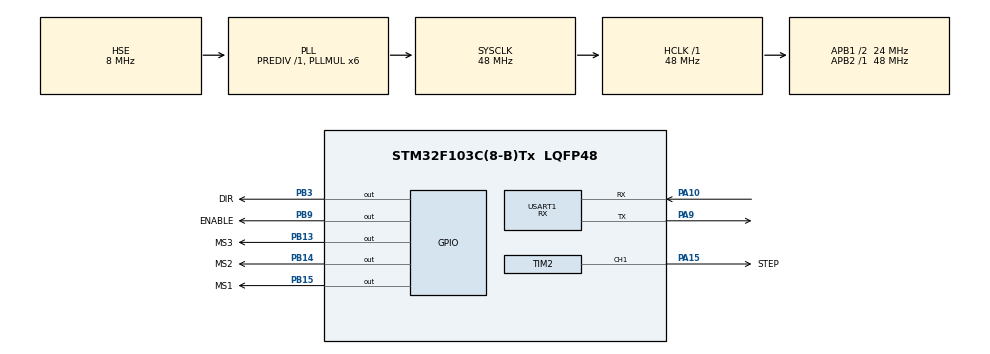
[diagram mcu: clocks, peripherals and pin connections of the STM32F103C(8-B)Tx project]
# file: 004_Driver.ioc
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Mcu.Family=STM32F1
RCC.PLLSourceVirtual=RCC_PLLSOURCE_HSE
PD1-OSC_OUT.Mode=HSE-External-Oscillator
PB9.GPIO_Label=ENABLE
PA10.Mode=Asynchronous
PB14.GPIO_Label=MS2
PD0-OSC_IN.Signal=RCC_OSC_IN
RCC.APB1CLKDivider=RCC_HCLK_DIV2
TIM2.OCPolarity_1=TIM_OCPOLARITY_LOW
PB13.GPIO_Label=MS3
PB13.Signal=GPIO_Output
PB15.Signal=GPIO_Output
RCC.SYSCLKSource=RCC_SYSCLKSOURCE_PLLCLK
ProjectManager.StackSize=0x400
TIM2.Pulse-PWM\ Generation1\ CH1=100
PD1-OSC_OUT.Signal=RCC_OSC_OUT
PA13.Signal=SYS_JTMS-SWDIO
PA15.GPIO_Label=STEP
PA9.Mode=Asynchronous
ProjectManager.TargetToolchain=STM32CubeIDE
RCC.HCLKFreq_Value=48000000
RCC.APB2TimFreq_Value=48000000
PA9.Signal=USART1_TX
RCC.USBFreq_Value=48000000
RCC.AHBFreq_Value=48000000
PD0-OSC_IN.Mode=HSE-External-Oscillator
PB14.Signal=GPIO_Output
board=custom
RCC.PLLMUL=RCC_PLL_MUL6
RCC.APB2Freq_Value=48000000
USART1.Mode=MODE_RX
PB15.GPIO_Label=MS1
VP_TIM2_VS_ClockSourceINT.Mode=Internal
PA14.Mode=Serial_Wire
NVIC.TIM2_IRQn=true\:0\:0\:false\:false\:true\:true\:true
TIM2.Channel-PWM\ Generation1\ CH1=TIM_CHANNEL_1
TIM2.Period=200
PA13.Mode=Serial_Wire
Mcu.Name=STM32F103C(8-B)Tx
PB3.Signal=GPIO_Output
RCC.SYSCLKFreq_VALUE=48000000
Mcu.Package=LQFP48
PB9.Signal=GPIO_Output
TIM2.Prescaler=360
USART1.VirtualMode=VM_ASYNC
SH.S_TIM2_CH1_ETR.0=TIM2_CH1,PWM Generation1 CH1
PA10.Signal=USART1_RX
PA14.Signal=SYS_JTCK-SWCLK
PA15.Signal=S_TIM2_CH1_ETR
ProjectManager.HeapSize=0x200
NVIC.PriorityGroup=NVIC_PRIORITYGROUP_4
RCC.APB1TimFreq_Value=48000000
NVIC.USART1_IRQn=true\:0\:0\:false\:false\:true\:true\:true
RCC.APB1Freq_Value=24000000
PB3.GPIO_Label=DIR

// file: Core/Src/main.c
/* USER CODE BEGIN Header */
/**
  ******************************************************************************
  * @file           : main.c
  * @brief          : Main program body
  ******************************************************************************
  * @attention
  *
  * <h2><center>&copy; Copyright (c) 2021 STMicroelectronics.
  * All rights reserved.</center></h2>
  *
  * This software component is licensed by ST under BSD 3-Clause license,
  * the "License"; You may not use this file except in compliance with the
  * License. You may obtain a copy of the License at:
  *                        opensource.org/licenses/BSD-3-Clause
  *
  ******************************************************************************
  */
/* USER CODE END Header */
#include "main.h"

/* USER CODE BEGIN Includes */
#include <stdio.h>
#include "Driver.h"

/* USER CODE END Includes */

TIM_HandleTypeDef htim2;

UART_HandleTypeDef huart1;

void SystemClock_Config(void);
static void MX_GPIO_Init(void);
static void MX_TIM2_Init(void);
static void MX_USART1_UART_Init(void);
/* USER CODE BEGIN PFP */
int Convert_ascii_int(uint8_t *Rx_data);
void HAL_UART_RxCpltCallback(UART_HandleTypeDef *huart);

/* USER CODE END PFP */

/* USER CODE BEGIN 0 */
short step_resolution = 5;
_Bool flag = 0;
uint8_t Rx_data[2];

/* USER CODE END 0 */

int main(void)
{

  /* MCU Configuration--------------------------------------------------------*/

  /* Reset of all peripherals, Initializes the Flash interface and the Systick. */
  HAL_Init();

  /* Configure the system clock */
  SystemClock_Config();

  /* Initialize all configured peripherals */
  MX_GPIO_Init();
  MX_TIM2_Init();
  MX_USART1_UART_Init();
  /* USER CODE BEGIN 2 */

  Init_Driver(step_resolution);
  HAL_UART_Receive_IT(&huart1, Rx_data, 2);
//  Change_position(next_position);

  /* USER CODE END 2 */

  /* Infinite loop */
  /* USER CODE BEGIN WHILE */
  while (1)
  {
	  if (flag == 1)
	  {
		Change_position(Convert_ascii_int(Rx_data));
		HAL_UART_Receive_IT(&huart1, Rx_data, 2);
		flag = 0;
	  }
    /* USER CODE END WHILE */

  }
}

void SystemClock_Config(void)
{
  RCC_OscInitTypeDef RCC_OscInitStruct = {0};
  RCC_ClkInitTypeDef RCC_ClkInitStruct = {0};

  /** Initializes the RCC Oscillators according to the specified parameters
  * in the RCC_OscInitTypeDef structure.
  */
  RCC_OscInitStruct.OscillatorType = RCC_OSCILLATORTYPE_HSE;
  RCC_OscInitStruct.HSEState = RCC_HSE_ON;
  RCC_OscInitStruct.HSEPredivValue = RCC_HSE_PREDIV_DIV1;
  RCC_OscInitStruct.HSIState = RCC_HSI_ON;
  RCC_OscInitStruct.PLL.PLLState = RCC_PLL_ON;
  RCC_OscInitStruct.PLL.PLLSource = RCC_PLLSOURCE_HSE;
  RCC_OscInitStruct.PLL.PLLMUL = RCC_PLL_MUL6;
  if (HAL_RCC_OscConfig(&RCC_OscInitStruct) != HAL_OK)
  {
    Error_Handler();
  }
  /** Initializes the CPU, AHB and APB buses clocks
  */
  RCC_ClkInitStruct.ClockType = RCC_CLOCKTYPE_HCLK|RCC_CLOCKTYPE_SYSCLK
                              |RCC_CLOCKTYPE_PCLK1|RCC_CLOCKTYPE_PCLK2;
  RCC_ClkInitStruct.SYSCLKSource = RCC_SYSCLKSOURCE_PLLCLK;
  RCC_ClkInitStruct.AHBCLKDivider = RCC_SYSCLK_DIV1;
  RCC_ClkInitStruct.APB1CLKDivider = RCC_HCLK_DIV2;
  RCC_ClkInitStruct.APB2CLKDivider = RCC_HCLK_DIV1;

  if (HAL_RCC_ClockConfig(&RCC_ClkInitStruct, FLASH_LATENCY_1) != HAL_OK)
  {
    Error_Handler();
  }
}

static void MX_TIM2_Init(void)
{

  TIM_ClockConfigTypeDef sClockSourceConfig = {0};
  TIM_MasterConfigTypeDef sMasterConfig = {0};
  TIM_OC_InitTypeDef sConfigOC = {0};

  htim2.Instance = TIM2;
  htim2.Init.Prescaler = 360;
  htim2.Init.CounterMode = TIM_COUNTERMODE_UP;
  htim2.Init.Period = 200;
  htim2.Init.ClockDivision = TIM_CLOCKDIVISION_DIV1;
  htim2.Init.AutoReloadPreload = TIM_AUTORELOAD_PRELOAD_DISABLE;
  if (HAL_TIM_Base_Init(&htim2) != HAL_OK)
  {
    Error_Handler();
  }
  sClockSourceConfig.ClockSource = TIM_CLOCKSOURCE_INTERNAL;
  if (HAL_TIM_ConfigClockSource(&htim2, &sClockSourceConfig) != HAL_OK)
  {
    Error_Handler();
  }
  if (HAL_TIM_PWM_Init(&htim2) != HAL_OK)
  {
    Error_Handler();
  }
  sMasterConfig.MasterOutputTrigger = TIM_TRGO_RESET;
  sMasterConfig.MasterSlaveMode = TIM_MASTERSLAVEMODE_DISABLE;
  if (HAL_TIMEx_MasterConfigSynchronization(&htim2, &sMasterConfig) != HAL_OK)
  {
    Error_Handler();
  }
  sConfigOC.OCMode = TIM_OCMODE_PWM1;
  sConfigOC.Pulse = 100;
  sConfigOC.OCPolarity = TIM_OCPOLARITY_LOW;
  sConfigOC.OCFastMode = TIM_OCFAST_DISABLE;
  if (HAL_TIM_PWM_ConfigChannel(&htim2, &sConfigOC, TIM_CHANNEL_1) != HAL_OK)
  {
    Error_Handler();
  }
  HAL_TIM_MspPostInit(&htim2);

}

static void MX_USART1_UART_Init(void)
{

  huart1.Instance = USART1;
  huart1.Init.BaudRate = 115200;
  huart1.Init.WordLength = UART_WORDLENGTH_8B;
  huart1.Init.StopBits = UART_STOPBITS_1;
  huart1.Init.Parity = UART_PARITY_NONE;
  huart1.Init.Mode = UART_MODE_RX;
  huart1.Init.HwFlowCtl = UART_HWCONTROL_NONE;
  huart1.Init.OverSampling = UART_OVERSAMPLING_16;
  if (HAL_UART_Init(&huart1) != HAL_OK)
  {
    Error_Handler();
  }

}

static void MX_GPIO_Init(void)
{
  GPIO_InitTypeDef GPIO_InitStruct = {0};

  /* GPIO Ports Clock Enable */
  __HAL_RCC_GPIOD_CLK_ENABLE();
  __HAL_RCC_GPIOB_CLK_ENABLE();
  __HAL_RCC_GPIOA_CLK_ENABLE();

  /*Configure GPIO pin Output Level */
  HAL_GPIO_WritePin(GPIOB, MS3_Pin|MS2_Pin|MS1_Pin|DIR_Pin
                          |ENABLE_Pin, GPIO_PIN_RESET);

  /*Configure GPIO pins : MS3_Pin MS2_Pin MS1_Pin DIR_Pin
                           ENABLE_Pin */
  GPIO_InitStruct.Pin = MS3_Pin|MS2_Pin|MS1_Pin|DIR_Pin
                          |ENABLE_Pin;
  GPIO_InitStruct.Mode = GPIO_MODE_OUTPUT_PP;
  GPIO_InitStruct.Pull = GPIO_NOPULL;
  GPIO_InitStruct.Speed = GPIO_SPEED_FREQ_LOW;
  HAL_GPIO_Init(GPIOB, &GPIO_InitStruct);

}

/* USER CODE BEGIN 4 */
int Convert_ascii_int(uint8_t *Rx_data) {
	if (Rx_data[0] == 0x20) {
		if (Rx_data[1] == 0x31) {
			return 1;
		}
		if (Rx_data[1] == 0x32){
			return 2;
		}
		if (Rx_data[1] == 0x33){
			return 3;
		}
		if (Rx_data[1] == 0x34){
			return 4;
		}
		if (Rx_data[1] == 0x35){
			return 5;
		}
		if (Rx_data[1] == 0x36){
			return 6;
		}
		if (Rx_data[1] == 0x37){
			return 7;
		}
		if (Rx_data[1] == 0x38){
			return 8;
		}
		if (Rx_data[1] == 0x39){
			return 9;
		}
	}
	if (Rx_data[0] == 0x31) {
		if (Rx_data[1] == 0x30) {
			return 10;
		}
		if (Rx_data[1] == 0x31) {
			return 11;
		}
		if (Rx_data[1] == 0x32){
			return 12;
		}
		if (Rx_data[1] == 0x33){
			return 13;
		}
		if (Rx_data[1] == 0x34){
			return 14;
		}
		if (Rx_data[1] == 0x35){
			return 15;
		}
		if (Rx_data[1] == 0x36){
			return 16;
		}
	}
	return 0;
}

void HAL_UART_RxCpltCallback(UART_HandleTypeDef *huart) {
	if (huart == &huart1) {
		flag = 1;
	}
}

/* USER CODE END 4 */

void Error_Handler(void)
{
  __disable_irq();
  while (1)
  {
  }
}

/************************ (C) COPYRIGHT STMicroelectronics *****END OF FILE****/
